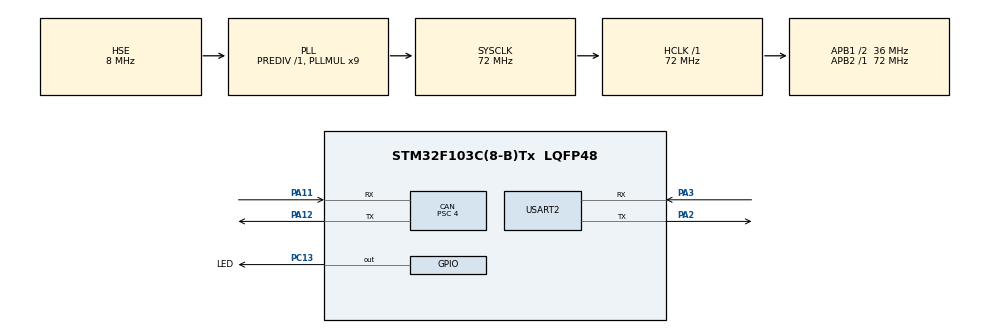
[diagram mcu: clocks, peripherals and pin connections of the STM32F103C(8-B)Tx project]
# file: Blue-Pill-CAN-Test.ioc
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CAN.BS1=CAN_BS1_15TQ
CAN.BS2=CAN_BS2_2TQ
CAN.CalculateBaudRate=500000
CAN.CalculateTimeBit=1999.99
CAN.CalculateTimeQuantum=111.11111111111111
CAN.Prescaler=4
Mcu.Family=STM32F1
Mcu.Name=STM32F103C(8-B)Tx
Mcu.Package=LQFP48
NVIC.PriorityGroup=NVIC_PRIORITYGROUP_4
NVIC.USB_LP_CAN1_RX0_IRQn=true\:0\:0\:false\:false\:true\:true\:true
PA11.Mode=CAN_Activate
PA11.Signal=CAN_RX
PA12.Mode=CAN_Activate
PA12.Signal=CAN_TX
PA13.Mode=Serial_Wire
PA13.Signal=SYS_JTMS-SWDIO
PA14.Mode=Serial_Wire
PA14.Signal=SYS_JTCK-SWCLK
PA2.Mode=Asynchronous
PA2.Signal=USART2_TX
PA3.Mode=Asynchronous
PA3.Signal=USART2_RX
PC13-TAMPER-RTC.GPIO_Label=LED
PC13-TAMPER-RTC.Signal=GPIO_Output
PD0-OSC_IN.Mode=HSE-External-Oscillator
PD0-OSC_IN.Signal=RCC_OSC_IN
PD1-OSC_OUT.Mode=HSE-External-Oscillator
PD1-OSC_OUT.Signal=RCC_OSC_OUT
ProjectManager.HeapSize=0x200
ProjectManager.StackSize=0x400
ProjectManager.TargetToolchain=STM32CubeIDE
RCC.AHBFreq_Value=72000000
RCC.APB1CLKDivider=RCC_HCLK_DIV2
RCC.APB1Freq_Value=36000000
RCC.APB1TimFreq_Value=72000000
RCC.APB2Freq_Value=72000000
RCC.APB2TimFreq_Value=72000000
RCC.HCLKFreq_Value=72000000
RCC.PLLMUL=RCC_PLL_MUL9
RCC.PLLSourceVirtual=RCC_PLLSOURCE_HSE
RCC.SYSCLKFreq_VALUE=72000000
RCC.SYSCLKSource=RCC_SYSCLKSOURCE_PLLCLK
RCC.USBFreq_Value=72000000
USART2.VirtualMode=VM_ASYNC
board=custom

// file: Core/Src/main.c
/* USER CODE BEGIN Header */
/**
  ******************************************************************************
  * @file           : main.c
  * @brief          : Main program body
  ******************************************************************************
  * @attention
  *
  * <h2><center>&copy; Copyright (c) 2021 STMicroelectronics.
  * All rights reserved.</center></h2>
  *
  * This software component is licensed by ST under BSD 3-Clause license,
  * the "License"; You may not use this file except in compliance with the
  * License. You may obtain a copy of the License at:
  *                        opensource.org/licenses/BSD-3-Clause
  *
  ******************************************************************************
  */
/* USER CODE END Header */
#include "main.h"

CAN_HandleTypeDef hcan;

UART_HandleTypeDef huart2;

/* USER CODE BEGIN PV */
CAN_TxHeaderTypeDef pHeader;
CAN_RxHeaderTypeDef pRxHeader;
uint32_t pTxMailbox;
uint8_t a;
uint8_t r;
CAN_FilterTypeDef sFilterConfig;

/* USER CODE END PV */

void SystemClock_Config(void);
static void MX_GPIO_Init(void);
static void MX_CAN_Init(void);
static void MX_USART2_UART_Init(void);
/* USER CODE BEGIN PFP */
void delay (int a);

/* USER CODE END PFP */

int main(void)
{

  /* MCU Configuration--------------------------------------------------------*/

  /* Reset of all peripherals, Initializes the Flash interface and the Systick. */
  HAL_Init();

  /* Configure the system clock */
  SystemClock_Config();

  /* Initialize all configured peripherals */
  MX_GPIO_Init();
  MX_CAN_Init();
  MX_USART2_UART_Init();
  /* USER CODE BEGIN 2 */
  HAL_CAN_Start(&hcan);
  // Enable interrupt for a message pending message
  HAL_CAN_ActivateNotification(&hcan, CAN_IT_RX_FIFO0_MSG_PENDING);

  //Setup message
  pHeader.DLC = 1;
  pHeader.IDE = CAN_ID_STD;
  pHeader.RTR = CAN_RTR_DATA;
  pHeader.StdId = 0x100;

  sFilterConfig.FilterFIFOAssignment = CAN_FILTER_FIFO0;
  sFilterConfig.FilterIdHigh = 0x100<<5;
  sFilterConfig.FilterIdLow = 0;
  sFilterConfig.FilterMaskIdHigh = 0;
  sFilterConfig.FilterMaskIdLow = 0;
  sFilterConfig.FilterScale = CAN_FILTERSCALE_32BIT;
  sFilterConfig.FilterActivation = ENABLE;

  HAL_CAN_ConfigFilter(&hcan, &sFilterConfig);

  a = 55;
  /* USER CODE END 2 */

  /* Infinite loop */
  while (1)
  {
	  //Note CAN mode is currently LOOPBACK so Message is sent and received on same board

	  // Send a CAN message (should trigger interrupt!)
	  HAL_CAN_AddTxMessage(&hcan, &pHeader, &a, &pTxMailbox);
	  //Having returned from interrupt, wait a little
	  delay(100000);
	  //Turn LED off, wait a little more then LOOP.
	  HAL_GPIO_WritePin(LED_GPIO_Port, LED_Pin, GPIO_PIN_SET);
	  delay(5000000);

	  //Debug console
	  HAL_UART_Transmit(&huart2, (uint8_t *)"Hello World!\r\n", 15U, 100U);
  }
}

void SystemClock_Config(void)
{
  RCC_OscInitTypeDef RCC_OscInitStruct = {0};
  RCC_ClkInitTypeDef RCC_ClkInitStruct = {0};

  /** Initializes the RCC Oscillators according to the specified parameters
  * in the RCC_OscInitTypeDef structure.
  */
  RCC_OscInitStruct.OscillatorType = RCC_OSCILLATORTYPE_HSE;
  RCC_OscInitStruct.HSEState = RCC_HSE_ON;
  RCC_OscInitStruct.HSEPredivValue = RCC_HSE_PREDIV_DIV1;
  RCC_OscInitStruct.HSIState = RCC_HSI_ON;
  RCC_OscInitStruct.PLL.PLLState = RCC_PLL_ON;
  RCC_OscInitStruct.PLL.PLLSource = RCC_PLLSOURCE_HSE;
  RCC_OscInitStruct.PLL.PLLMUL = RCC_PLL_MUL9;
  if (HAL_RCC_OscConfig(&RCC_OscInitStruct) != HAL_OK)
  {
    Error_Handler();
  }
  /** Initializes the CPU, AHB and APB buses clocks
  */
  RCC_ClkInitStruct.ClockType = RCC_CLOCKTYPE_HCLK|RCC_CLOCKTYPE_SYSCLK
                              |RCC_CLOCKTYPE_PCLK1|RCC_CLOCKTYPE_PCLK2;
  RCC_ClkInitStruct.SYSCLKSource = RCC_SYSCLKSOURCE_PLLCLK;
  RCC_ClkInitStruct.AHBCLKDivider = RCC_SYSCLK_DIV1;
  RCC_ClkInitStruct.APB1CLKDivider = RCC_HCLK_DIV2;
  RCC_ClkInitStruct.APB2CLKDivider = RCC_HCLK_DIV1;

  if (HAL_RCC_ClockConfig(&RCC_ClkInitStruct, FLASH_LATENCY_2) != HAL_OK)
  {
    Error_Handler();
  }
}

static void MX_CAN_Init(void)
{

  // Note this will setup the CAN for 500kbit operation.
  // Use the following website to calculate the bit timings
  // From the spec sheet we know that the CAN timing is based on the AP1B peripheral clock which is currently setup for 36mhz
  // http://www.bittiming.can-wiki.info/

  hcan.Instance = CAN1;
  hcan.Init.Prescaler = 4;

  // Swap this line to CAN_MODE_LOOPBACK if you don't have a transceiver setup
  hcan.Init.Mode = CAN_MODE_NORMAL;

  hcan.Init.SyncJumpWidth = CAN_SJW_1TQ;
  hcan.Init.TimeSeg1 = CAN_BS1_15TQ;
  hcan.Init.TimeSeg2 = CAN_BS2_2TQ;
  hcan.Init.TimeTriggeredMode = DISABLE;
  hcan.Init.AutoBusOff = DISABLE;
  hcan.Init.AutoWakeUp = DISABLE;
  hcan.Init.AutoRetransmission = DISABLE;
  hcan.Init.ReceiveFifoLocked = DISABLE;
  hcan.Init.TransmitFifoPriority = DISABLE;
  if (HAL_CAN_Init(&hcan) != HAL_OK)
  {
    Error_Handler();
  }

}

static void MX_USART2_UART_Init(void)
{

  huart2.Instance = USART2;
  huart2.Init.BaudRate = 115200;
  huart2.Init.WordLength = UART_WORDLENGTH_8B;
  huart2.Init.StopBits = UART_STOPBITS_1;
  huart2.Init.Parity = UART_PARITY_NONE;
  huart2.Init.Mode = UART_MODE_TX_RX;
  huart2.Init.HwFlowCtl = UART_HWCONTROL_NONE;
  huart2.Init.OverSampling = UART_OVERSAMPLING_16;
  if (HAL_UART_Init(&huart2) != HAL_OK)
  {
    Error_Handler();
  }

}

static void MX_GPIO_Init(void)
{
  GPIO_InitTypeDef GPIO_InitStruct = {0};

  /* GPIO Ports Clock Enable */
  __HAL_RCC_GPIOC_CLK_ENABLE();
  __HAL_RCC_GPIOD_CLK_ENABLE();
  __HAL_RCC_GPIOA_CLK_ENABLE();

  /*Configure GPIO pin Output Level */
  HAL_GPIO_WritePin(LED_GPIO_Port, LED_Pin, GPIO_PIN_RESET);

  /*Configure GPIO pin : LED_Pin */
  GPIO_InitStruct.Pin = LED_Pin;
  GPIO_InitStruct.Mode = GPIO_MODE_OUTPUT_PP;
  GPIO_InitStruct.Pull = GPIO_NOPULL;
  GPIO_InitStruct.Speed = GPIO_SPEED_FREQ_LOW;
  HAL_GPIO_Init(LED_GPIO_Port, &GPIO_InitStruct);

}

void Error_Handler(void)
{
  __disable_irq();
  while (1)
  {
  }
}

void delay (int a)
{
  volatile int i,j;
  for (i=0 ; i < a ; i++)
  {
     j++;
  }
  return;
}

/************************ (C) COPYRIGHT STMicroelectronics *****END OF FILE****/
